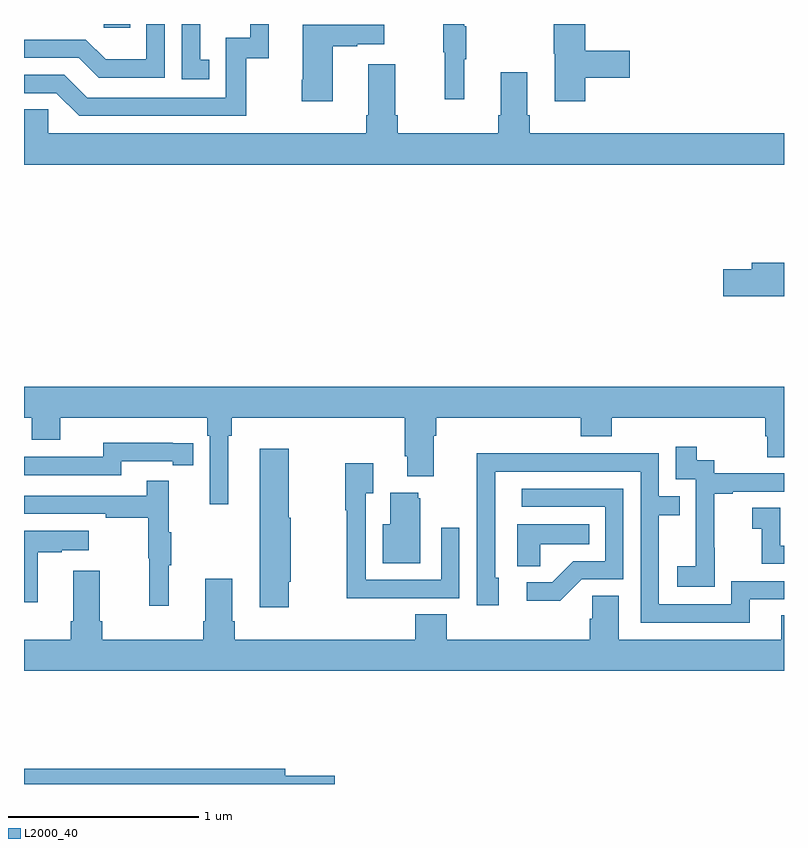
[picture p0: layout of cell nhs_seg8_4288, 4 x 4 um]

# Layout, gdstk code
import gdstk
lib = gdstk.Library(unit=1e-6, precision=1e-09)
def R(c, l, rs):  # rectangles x0, y0, x1, y1
    for r in rs: c.add(gdstk.rectangle(r[:2], r[2:], *l))
def P(c, l, *ps):  # polygons
    for p in ps: c.add(gdstk.Polygon(p, *l))
L2000_40 = (2000, 40)

nhs_seg8_4288 = lib.new_cell('nhs_seg8_4288')
R(nhs_seg8_4288, L2000_40, [(373.419,1123.881,373.559,1123.9)])
P(nhs_seg8_4288, L2000_40, [(375.953,1123.618),(376.189,1123.618),(376.189,1123.76),(375.953,1123.76),(375.953,1123.9),(375.787,1123.9),(375.787,1123.743),(375.794,1123.743),(375.794,1123.494),(375.953,1123.494)],
  [(373.976,1123.713),(373.927,1123.713),(373.927,1123.9),(373.83,1123.9),(373.83,1123.608),(373.976,1123.608)],
  [(374.17,1123.719),(374.288,1123.719),(374.288,1123.9),(374.19,1123.9),(374.19,1123.827),(374.061,1123.827),(374.061,1123.512),(373.332,1123.512),(373.212,1123.632),(373,1123.632),(373,1123.536),(373.17,1123.536),(373.29,1123.416),(374.17,1123.416)],
  [(373.74,1123.9),(373.644,1123.9),(373.644,1123.714),(373.43,1123.714),(373.326,1123.818),(373,1123.818),(373,1123.722),(373.289,1123.722),(373.394,1123.617),(373.74,1123.617)],
  [(375.317,1123.715),(375.328,1123.715),(375.328,1123.889),(375.317,1123.889),(375.317,1123.9),(375.207,1123.9),(375.207,1123.752),(375.214,1123.752),(375.214,1123.503),(375.317,1123.503)],
  [(374.626,1123.783),(374.753,1123.783),(374.753,1123.793),(374.896,1123.793),(374.896,1123.897),(374.468,1123.897),(374.468,1123.606),(374.461,1123.606),(374.461,1123.494),(374.626,1123.494)],
  [(377,1123.324),(375.662,1123.324),(375.662,1123.42),(375.649,1123.42),(375.649,1123.645),(375.509,1123.645),(375.509,1123.42),(375.497,1123.42),(375.497,1123.324),(374.966,1123.324),(374.966,1123.42),(374.953,1123.42),(374.953,1123.687),(374.813,1123.687),(374.813,1123.42),(374.801,1123.42),(374.801,1123.324),(373.128,1123.324),(373.128,1123.451),(373,1123.451),(373,1123.16),(377,1123.16)],
  [(377,1122.644),(376.829,1122.644),(376.829,1122.608),(376.68,1122.608),(376.68,1122.466),(377,1122.466)],
  [(374.074,1121.732),(374.093,1121.732),(374.093,1121.828),(375.005,1121.828),(375.005,1121.626),(375.017,1121.626),(375.017,1121.519),(375.157,1121.519),(375.157,1121.732),(375.17,1121.732),(375.17,1121.828),(375.929,1121.828),(375.929,1121.729),(376.094,1121.729),(376.094,1121.828),(376.901,1121.828),(376.901,1121.73),(376.913,1121.73),(376.913,1121.62),(377,1121.62),(377,1121.992),(373,1121.992),(373,1121.828),(373.04,1121.828),(373.04,1121.711),(373.192,1121.711),(373.192,1121.828),(373.964,1121.828),(373.964,1121.732),(373.977,1121.732),(373.977,1121.373),(374.074,1121.373)],
  [(373.512,1121.598),(373.784,1121.598),(373.784,1121.578),(373.892,1121.578),(373.892,1121.694),(373.784,1121.694),(373.784,1121.695),(373.416,1121.695),(373.416,1121.622),(373,1121.622),(373,1121.526),(373.512,1121.526)],
  [(376.635,1121.143),(376.634,1121.143),(376.634,1121.427),(376.729,1121.427),(376.729,1121.439),(377,1121.439),(377,1121.535),(376.632,1121.535),(376.632,1121.604),(376.54,1121.604),(376.54,1121.674),(376.431,1121.674),(376.431,1121.505),(376.536,1121.505),(376.536,1121.276),(376.535,1121.276),(376.535,1121.047),(376.437,1121.047),(376.437,1120.937),(376.635,1120.937)],
  [(374.394,1120.965),(374.404,1120.965),(374.404,1121.301),(374.394,1121.301),(374.394,1121.665),(374.24,1121.665),(374.24,1120.83),(374.394,1120.83)],
  [(376.819,1120.872),(377,1120.872),(377,1120.968),(376.722,1120.968),(376.722,1120.845),(376.341,1120.845),(376.341,1121.314),(376.451,1121.314),(376.451,1121.415),(376.341,1121.415),(376.341,1121.64),(375.845,1121.64),(375.845,1121.642),(375.382,1121.642),(375.382,1121.335),(375.384,1121.335),(375.384,1120.842),(375.499,1120.842),(375.499,1120.986),(375.48,1120.986),(375.48,1121.544),(376.245,1121.544),(376.245,1120.749),(376.819,1120.749)],
  [(374.975,1120.878),(375.291,1120.878),(375.291,1121.248),(375.195,1121.248),(375.195,1120.974),(374.799,1120.974),(374.799,1121.431),(374.839,1121.431),(374.839,1121.587),(374.691,1121.587),(374.691,1121.342),(374.698,1121.342),(374.698,1120.877),(374.975,1120.877)],
  [(373.763,1121.051),(373.774,1121.051),(373.774,1121.225),(373.763,1121.225),(373.763,1121.497),(373.645,1121.497),(373.645,1121.418),(373,1121.418),(373,1121.322),(373.429,1121.322),(373.429,1121.302),(373.653,1121.302),(373.653,1121.088),(373.66,1121.088),(373.66,1120.839),(373.763,1120.839)],
  [(375.936,1120.977),(376.155,1120.977),(376.155,1121.454),(375.621,1121.454),(375.621,1121.358),(376.059,1121.358),(376.059,1121.073),(375.89,1121.073),(375.779,1120.962),(375.645,1120.962),(375.645,1120.865),(375.823,1120.865)],
  [(375.085,1121.403),(375.074,1121.403),(375.074,1121.434),(374.927,1121.434),(374.927,1121.266),(374.888,1121.266),(374.888,1121.063),(375.085,1121.063)],
  [(377,1121.154),(376.98,1121.154),(376.98,1121.353),(376.833,1121.353),(376.833,1121.243),(376.882,1121.243),(376.882,1121.058),(377,1121.058)],
  [(375.717,1121.162),(375.974,1121.162),(375.974,1121.266),(375.596,1121.266),(375.596,1121.047),(375.717,1121.047)],
  [(373.072,1121.119),(373.199,1121.119),(373.199,1121.129),(373.342,1121.129),(373.342,1121.233),(373,1121.233),(373,1120.857),(373.072,1120.857)],
  [(377,1120.787),(376.985,1120.787),(376.985,1120.66),(376.129,1120.66),(376.129,1120.892),(375.99,1120.892),(375.99,1120.769),(375.977,1120.769),(375.977,1120.66),(375.224,1120.66),(375.224,1120.793),(375.059,1120.793),(375.059,1120.66),(374.108,1120.66),(374.108,1120.756),(374.095,1120.756),(374.095,1120.981),(373.955,1120.981),(373.955,1120.756),(373.943,1120.756),(373.943,1120.66),(373.412,1120.66),(373.412,1120.756),(373.399,1120.756),(373.399,1121.023),(373.259,1121.023),(373.259,1120.756),(373.247,1120.756),(373.247,1120.66),(373,1120.66),(373,1120.496),(377,1120.496)],
  [(374.635,1119.944),(374.374,1119.944),(374.374,1119.98),(373,1119.98),(373,1119.9),(374.635,1119.9)])

lib.write_gds('nhs_seg8_4288.gds')
